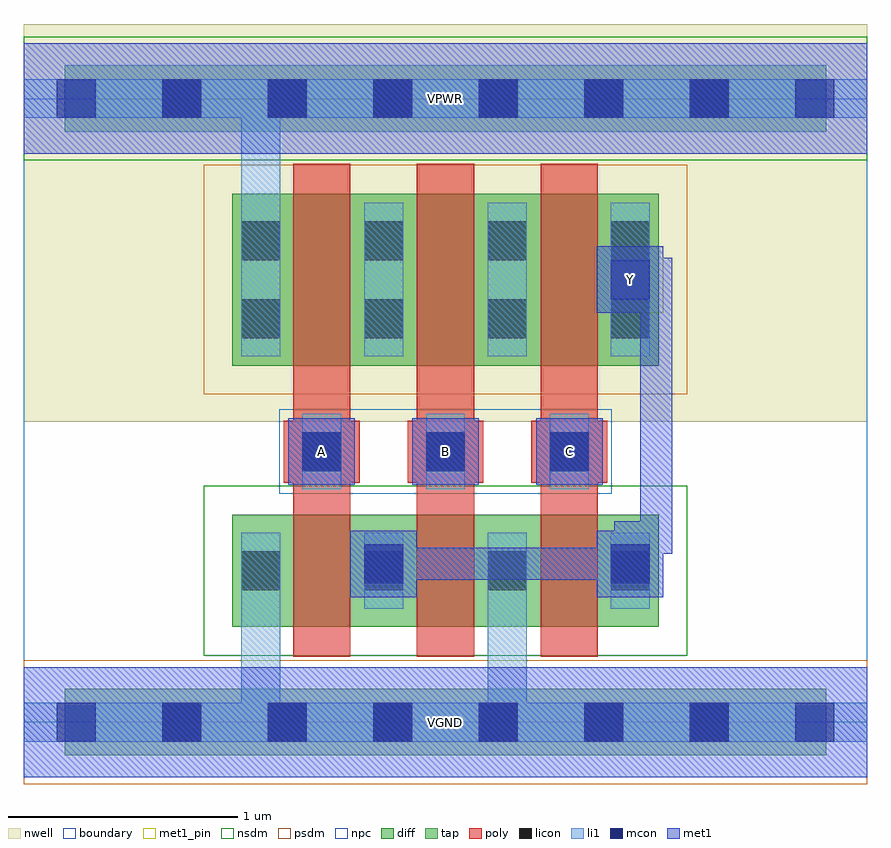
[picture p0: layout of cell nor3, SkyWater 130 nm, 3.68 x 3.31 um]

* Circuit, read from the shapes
.subckt nor3 A B C VGND VPWR Y
XM1 Y A VGND VGND sky130_fd_pr__nfet_01v8 w=0.49 l=0.25
XM2 VGND B Y VGND sky130_fd_pr__nfet_01v8 w=0.49 l=0.25
XM3 Y C VGND VGND sky130_fd_pr__nfet_01v8 w=0.49 l=0.25
XM4 n1 A VPWR VPWR sky130_fd_pr__pfet_01v8 w=0.75 l=0.25
XM5 n2 B n1 VPWR sky130_fd_pr__pfet_01v8 w=0.75 l=0.25
XM6 Y C n2 VPWR sky130_fd_pr__pfet_01v8 w=0.75 l=0.25
.ends

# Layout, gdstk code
import gdstk
lib = gdstk.Library(unit=1e-6, precision=1e-09)
def R(c, l, rs):  # rectangles x0, y0, x1, y1
    for r in rs: c.add(gdstk.rectangle(r[:2], r[2:], *l))
def A(c, l, x, y, w, h, nx, ny, dx, dy):  # array of equal rectangles
    R(c, l, [(x+i*dx, y+j*dy, x+i*dx+w, y+j*dy+h) for i in range(nx) for j in range(ny)])
nwell = (64, 20)
diff = (65, 20)
tap = (65, 44)
poly = (66, 20)
licon = (66, 44)
li1 = (67, 20)
mcon = (67, 44)
met1_pin = (68, 16)
met1 = (68, 20)
nsdm = (93, 44)
psdm = (94, 20)
npc = (95, 20)
boundary = (235, 4)

nor3 = lib.new_cell('nor3')
R(nor3, nwell, [(0,1.31,3.68,3.045)])
R(nor3, diff, [(0.91,0.415,2.77,0.905), (0.91,1.555,2.77,2.305)])
R(nor3, tap, [(0.18,-0.145,3.5,0.145), (0.18,2.575,3.5,2.865)])
A(nor3, poly, 1.175, 0.285, 0.25, 2.15, 3, 1, 0.54, 0)
A(nor3, poly, 1.135, 1.045, 0.33, 0.27, 3, 1, 0.54, 0)
A(nor3, licon, 0.605, -0.085, 0.17, 0.17, 6, 2, 0.46, 2.72)
A(nor3, licon, 1.215, 1.095, 0.17, 0.17, 3, 1, 0.54, 0)
R(nor3, licon, [(0.95,0.575,1.12,0.745), (1.485,0.575,1.655,0.745), (2.025,0.575,2.195,0.745), (2.56,0.575,2.73,0.745), (0.95,1.675,1.12,1.845), (1.485,1.675,1.655,1.845), (2.025,1.675,2.195,1.845), (2.56,1.675,2.73,1.845), (0.95,2.015,1.12,2.185), (1.485,2.015,1.655,2.185), (2.025,2.015,2.195,2.185), (2.56,2.015,2.73,2.185)])
A(nor3, li1, 1.215, 1.015, 0.17, 0.33, 3, 1, 0.54, 0)
R(nor3, li1, [(0,-0.085,3.68,0.085), (0.95,-0.085,1.12,0.825), (2.025,-0.085,2.195,0.825), (0.95,0.495,1.12,0.825), (1.485,0.495,1.655,0.825), (2.025,0.495,2.195,0.825), (2.56,0.495,2.73,0.825), (0.95,1.595,1.12,2.265), (0.95,1.595,1.12,2.805), (1.485,1.595,1.655,2.265), (2.025,1.595,2.195,2.265), (2.56,1.595,2.73,2.265), (0,2.635,3.68,2.805)])
A(nor3, mcon, 0.145, -0.085, 0.17, 0.17, 8, 2, 0.46, 2.72)
A(nor3, mcon, 1.215, 1.095, 0.17, 0.17, 3, 1, 0.54, 0)
R(nor3, mcon, [(1.485,0.605,1.655,0.775), (2.56,0.605,2.73,0.775), (2.56,1.845,2.73,2.015)])
A(nor3, met1_pin, 1.155, 1.035, 0.29, 0.29, 3, 1, 0.54, 0)
R(nor3, met1_pin, [(0,-0.24,3.68,0.24), (2.5,1.785,2.79,2.075), (0,2.48,3.68,2.96)])
A(nor3, met1, 1.155, 1.035, 0.29, 0.29, 3, 1, 0.54, 0)
R(nor3, met1, [(0,-0.24,3.68,0.24), (1.425,0.545,1.715,0.835), (2.5,0.545,2.79,0.835), (1.5,0.62,1.795,0.76), (1.655,0.62,2.715,0.76), (2.575,0.62,2.715,0.875), (2.575,0.735,2.83,0.875), (2.69,0.735,2.83,2.025), (2.5,1.785,2.79,2.075), (2.575,1.885,2.715,2.025), (2.575,1.885,2.83,2.025), (0,2.48,3.68,2.96)])
R(nor3, nsdm, [(0.785,0.29,2.895,1.03), (0,2.45,3.68,2.99)])
R(nor3, psdm, [(0,-0.27,3.68,0.27), (0.785,1.43,2.895,2.43)])
R(nor3, npc, [(1.115,0.995,2.565,1.365)])
R(nor3, boundary, [(0,0,3.68,2.72)])
nor3.add(gdstk.Label('A', (1.3,1.18), layer=68, texttype=5))
nor3.add(gdstk.Label('B', (1.84,1.18), layer=68, texttype=5))
nor3.add(gdstk.Label('C', (2.38,1.18), layer=68, texttype=5))
nor3.add(gdstk.Label('Y', (2.645,1.93), layer=68, texttype=5))
nor3.add(gdstk.Label('VPWR', (1.84,2.72), layer=68, texttype=5))
nor3.add(gdstk.Label('VGND', (1.84,0), layer=68, texttype=5))
nor3.add(gdstk.Label('A', (1.3,1.18), layer=68, texttype=16))
nor3.add(gdstk.Label('B', (1.84,1.18), layer=68, texttype=16))
nor3.add(gdstk.Label('C', (2.38,1.18), layer=68, texttype=16))
nor3.add(gdstk.Label('Y', (2.645,1.93), layer=68, texttype=16))
nor3.add(gdstk.Label('VPWR', (1.84,2.72), layer=68, texttype=16))
nor3.add(gdstk.Label('VGND', (1.84,0), layer=68, texttype=16))

lib.write_gds('nor3.gds')
